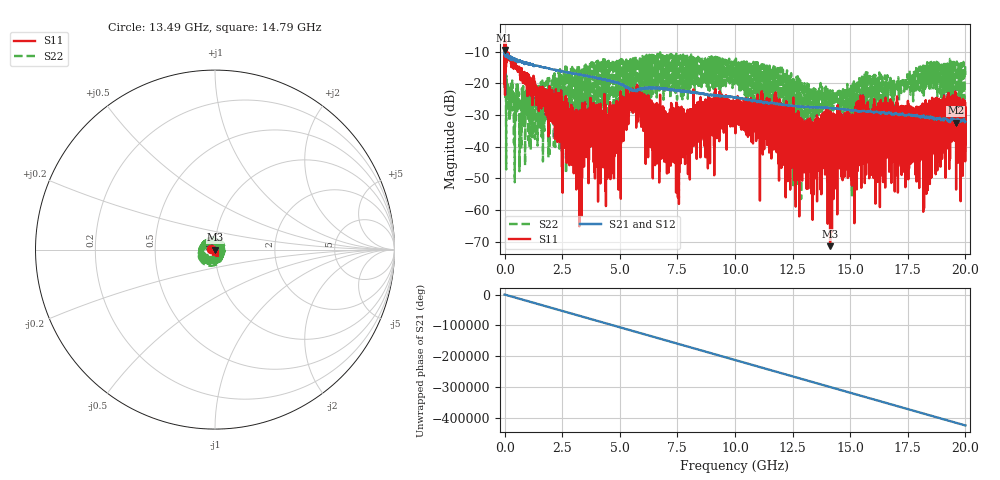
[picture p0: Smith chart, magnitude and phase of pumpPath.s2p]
# Hz S DB R 50
! CMT, C4420, 18068703, 18.2.2/3
! Date: 10/6/2025 4:40:48 PM
! Data: Format (Calibration Info)
! Freq  S33: dB/Ang (F2)  S43: dB/Ang (F2)  S34: dB/Ang (F2)  S44: dB/Ang (F2)
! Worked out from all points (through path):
!   10001 points, 100 kHz to 20 GHz, reference 50 ohm
!   highest |S21| = -9.42 dB at 100 kHz (marker M1); lowest = -32.4 dB at 19.58 GHz (marker M2)
!   lowest |S11| = -71.3 dB at 14.13 GHz (marker M3), VSWR 1.00, Z = 50 - j0.00835 ohm
!   |S11| at or under -10 dB: 15.65 MHz to 20.65 MHz (4.996 MHz wide, 27.5 % of centre); 56.98 MHz to 62.69 MHz (5.708 MHz wide, 9.54 % of centre); 77.09 MHz to end of sweep (the widest 3 of 8)
!   |S22| runs from -56.5 to -10.2 dB; largest |S21 - S12| = 0.0096
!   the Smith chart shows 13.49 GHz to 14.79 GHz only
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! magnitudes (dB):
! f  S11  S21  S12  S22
! 100 kHz  -9.5  -9.4  -9.4  -21.5
! 688.1 MHz  -18.6  -12.9  -12.9  -30.7
! 3.334 GHz  -39.0  -17.4  -17.3  -16.6
! 3.786 GHz  -33.8  -17.9  -17.9  -25.1
! 4.464 GHz  -31.0  -19.2  -19.2  -13.7
! 5.596 GHz  -26.4  -22.1  -22.1  -17.9
! 6.668 GHz  -33.2  -21.3  -21.3  -17.4
! 7.87 GHz  -31.2  -22.6  -22.6  -11.8
! 10 GHz  -30.4  -24.4  -24.4  -16.8
! 11.6 GHz  -26.3  -26.2  -26.2  -18.4
! 11.71 GHz  -32.0  -26.2  -26.2  -22.9
! 12.69 GHz  -35.0  -27.3  -27.3  -31.2
! 13.33 GHz  -37.0  -27.5  -27.5  -34.3
! 14.13 GHz  -71.3  -27.8  -27.8  -22.3
! 14.87 GHz  -28.9  -28.3  -28.4  -20.3
! 15.31 GHz  -34.0  -28.7  -28.7  -32.3
! 15.71 GHz  -41.7  -28.9  -28.9  -32.8
! 16.67 GHz  -38.9  -29.3  -29.3  -20.1
! 18.37 GHz  -27.0  -30.7  -30.7  -19.8
! 19.58 GHz  -24.8  -32.4  -32.4  -14.1
! 19.9 GHz  -40.7  -31.9  -31.9  -19.0
! 20 GHz  -39.1  -32.1  -32.1  -18.2
